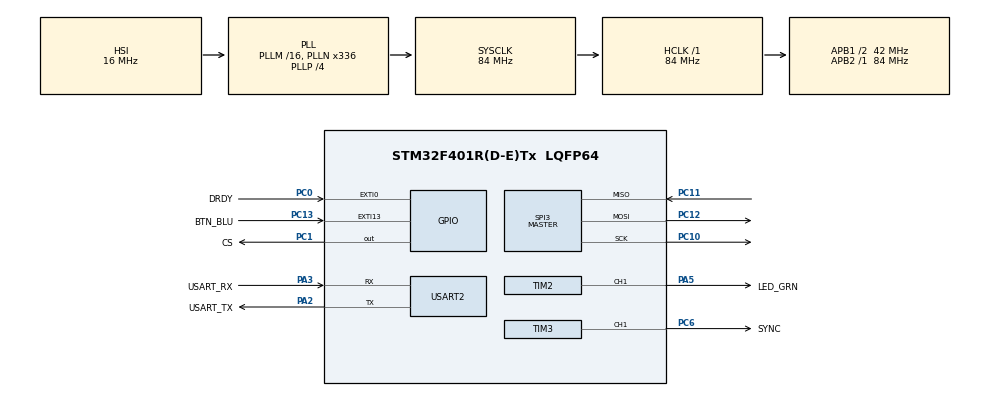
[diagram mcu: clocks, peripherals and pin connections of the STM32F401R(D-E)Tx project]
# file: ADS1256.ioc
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Dma.Request0=USART2_RX
Dma.Request1=USART2_TX
Dma.USART2_RX.0.Direction=DMA_PERIPH_TO_MEMORY
Dma.USART2_RX.0.FIFOMode=DMA_FIFOMODE_DISABLE
Dma.USART2_RX.0.Instance=DMA1_Stream5
Dma.USART2_RX.0.MemDataAlignment=DMA_MDATAALIGN_BYTE
Dma.USART2_RX.0.MemInc=DMA_MINC_ENABLE
Dma.USART2_RX.0.Mode=DMA_NORMAL
Dma.USART2_RX.0.PeriphDataAlignment=DMA_PDATAALIGN_BYTE
Dma.USART2_RX.0.PeriphInc=DMA_PINC_DISABLE
Dma.USART2_RX.0.Priority=DMA_PRIORITY_LOW
Dma.USART2_TX.1.Direction=DMA_MEMORY_TO_PERIPH
Dma.USART2_TX.1.FIFOMode=DMA_FIFOMODE_DISABLE
Dma.USART2_TX.1.Instance=DMA1_Stream6
Dma.USART2_TX.1.MemDataAlignment=DMA_MDATAALIGN_BYTE
Dma.USART2_TX.1.MemInc=DMA_MINC_ENABLE
Dma.USART2_TX.1.Mode=DMA_NORMAL
Dma.USART2_TX.1.PeriphDataAlignment=DMA_PDATAALIGN_BYTE
Dma.USART2_TX.1.PeriphInc=DMA_PINC_DISABLE
Dma.USART2_TX.1.Priority=DMA_PRIORITY_LOW
FREERTOS.BinarySemaphores01=UART_RX_Done_Sem,Dynamic,NULL,Available;DRDY_Signal_Sem,Dynamic,NULL,Depleted
FREERTOS.Queues01=txDataQueue,32,CommsFrame_t,0,Dynamic,NULL,NULL;CommandQueue,16,CommsFrame_t,0,Dynamic,NULL,NULL
FREERTOS.Tasks01=Command_Handler,32,128,StartCommand_Handler,Default,NULL,Dynamic,NULL,NULL;UART_TX_Task,24,128,StartUART_TX_Task,Default,NULL,Dynamic,NULL,NULL;UART_RX_Task,24,128,StartUART_RX_Task,Default,NULL,Dynamic,NULL,NULL;SPI_RX_Task,8,256,StartSPI_RX_Task,Default,NULL,Dynamic,NULL,NULL
FREERTOS.configUSE_NEWLIB_REENTRANT=1
Mcu.Family=STM32F4
Mcu.Name=STM32F401R(D-E)Tx
Mcu.Package=LQFP64
NVIC.DMA1_Stream5_IRQn=true\:5\:0\:false\:false\:true\:true\:false\:true\:true
NVIC.DMA1_Stream6_IRQn=true\:5\:0\:false\:false\:true\:true\:false\:true\:true
NVIC.EXTI0_IRQn=true\:5\:0\:false\:false\:true\:true\:true\:true\:true
NVIC.EXTI15_10_IRQn=true\:5\:0\:false\:false\:true\:true\:true\:true\:true
NVIC.PriorityGroup=NVIC_PRIORITYGROUP_4
NVIC.TIM1_UP_TIM10_IRQn=true\:15\:0\:false\:false\:true\:false\:false\:true\:true
NVIC.TimeBase=TIM1_UP_TIM10_IRQn
NVIC.TimeBaseIP=TIM10
NVIC.USART2_IRQn=true\:5\:0\:false\:false\:true\:true\:true\:true\:true
PA13.GPIO_Label=TMS
PA13.Mode=Trace_Asynchronous_SW
PA13.Signal=SYS_JTMS-SWDIO
PA14.GPIO_Label=TCK
PA14.Mode=Trace_Asynchronous_SW
PA14.Signal=SYS_JTCK-SWCLK
PA2.GPIO_Label=USART_TX
PA2.GPIO_Mode=GPIO_MODE_AF_PP
PA2.GPIO_PuPd=GPIO_NOPULL
PA2.GPIO_Speed=GPIO_SPEED_FREQ_LOW
PA2.Mode=Asynchronous
PA2.Signal=USART2_TX
PA3.GPIO_Label=USART_RX
PA3.GPIO_Mode=GPIO_MODE_AF_PP
PA3.GPIO_PuPd=GPIO_NOPULL
PA3.GPIO_Speed=GPIO_SPEED_FREQ_LOW
PA3.Mode=Asynchronous
PA3.Signal=USART2_RX
PA5.GPIO_Label=LED_GRN
PA5.Signal=S_TIM2_CH1_ETR
PB3.GPIO_Label=SWO
PB3.Mode=Trace_Asynchronous_SW
PB3.Signal=SYS_JTDO-SWO
PC0.GPIO_Label=DRDY
PC0.Signal=GPXTI0
PC1.GPIO_Label=CS
PC1.GPIO_Speed=GPIO_SPEED_FREQ_HIGH
PC1.PinState=GPIO_PIN_SET
PC1.Signal=GPIO_Output
PC10.Mode=Full_Duplex_Master
PC10.Signal=SPI3_SCK
PC11.Mode=Full_Duplex_Master
PC11.Signal=SPI3_MISO
PC12.Mode=Full_Duplex_Master
PC12.Signal=SPI3_MOSI
PC13-ANTI_TAMP.GPIO_Label=BTN_BLU
PC13-ANTI_TAMP.GPIO_ModeDefaultEXTI=GPIO_MODE_IT_FALLING
PC13-ANTI_TAMP.Signal=GPXTI13
PC14-OSC32_IN.Mode=LSE-External-Oscillator
PC14-OSC32_IN.Signal=RCC_OSC32_IN
PC15-OSC32_OUT.Mode=LSE-External-Oscillator
PC15-OSC32_OUT.Signal=RCC_OSC32_OUT
PC6.GPIO_Label=SYNC
PC6.Signal=S_TIM3_CH1
PH0\ -\ OSC_IN.Mode=HSE-External-Clock-Source
PH0\ -\ OSC_IN.Signal=RCC_OSC_IN
PH1\ -\ OSC_OUT.Mode=HSE-External-Clock-Source
PH1\ -\ OSC_OUT.Signal=RCC_OSC_OUT
ProjectManager.HeapSize=0x200
ProjectManager.StackSize=0x400
ProjectManager.TargetToolchain=STM32CubeIDE
RCC.48MHZClocksFreq_Value=48000000
RCC.AHBFreq_Value=84000000
RCC.APB1CLKDivider=RCC_HCLK_DIV2
RCC.APB1Freq_Value=42000000
RCC.APB1TimFreq_Value=84000000
RCC.APB2Freq_Value=84000000
RCC.APB2TimFreq_Value=84000000
RCC.CortexFreq_Value=84000000
RCC.HCLKFreq_Value=84000000
RCC.HSE_VALUE=8000000
RCC.HSI_VALUE=16000000
RCC.PLLN=336
RCC.PLLP=RCC_PLLP_DIV4
RCC.PLLQ=7
RCC.SYSCLKFreq_VALUE=84000000
RCC.SYSCLKSource=RCC_SYSCLKSOURCE_PLLCLK
RCC.VCOOutputFreq_Value=336000000
SH.S_TIM2_CH1_ETR.0=TIM2_CH1,PWM Generation1 CH1
SH.S_TIM3_CH1.0=TIM3_CH1,PWM Generation1 CH1
SPI3.BaudRatePrescaler=SPI_BAUDRATEPRESCALER_32
SPI3.CLKPhase=SPI_PHASE_2EDGE
SPI3.Direction=SPI_DIRECTION_2LINES
SPI3.Mode=SPI_MODE_MASTER
SPI3.VirtualType=VM_MASTER
TIM2.Channel-PWM\ Generation1\ CH1=TIM_CHANNEL_1
TIM2.OCMode_PWM-PWM\ Generation1\ CH1=TIM_OCMODE_PWM2
TIM2.Period=100
TIM2.Prescaler=83
TIM2.Pulse-PWM\ Generation1\ CH1=1
TIM3.Channel-PWM\ Generation1\ CH1=TIM_CHANNEL_1
TIM3.OCMode_PWM-PWM\ Generation1\ CH1=TIM_OCMODE_PWM2
TIM3.OCPolarity_1=TIM_OCPOLARITY_LOW
TIM3.Period=5
TIM3.Prescaler=84-1
TIM3.Pulse-PWM\ Generation1\ CH1=1
TIM9.Prescaler=83
USART2.VirtualMode=VM_ASYNC
VP_FREERTOS_VS_CMSIS_V2.Mode=CMSIS_V2
VP_SYS_VS_tim10.Mode=TIM10
VP_TIM2_VS_ClockSourceINT.Mode=Internal
VP_TIM2_VS_OPM.Mode=OPM_bit
VP_TIM3_VS_ClockSourceINT.Mode=Internal
VP_TIM3_VS_OPM.Mode=OPM_bit
VP_TIM9_VS_ClockSourceINT.Mode=Internal
board=NUCLEO-F401RE

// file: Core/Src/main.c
/* USER CODE BEGIN Header */
/**
  ******************************************************************************
  * @file           : main.c
  * @brief          : Main program body
  ******************************************************************************
  * @attention
  *
  * Copyright (c) 2025 STMicroelectronics.
  * All rights reserved.
  *
  * This software is licensed under terms that can be found in the LICENSE file
  * in the root directory of this software component.
  * If no LICENSE file comes with this software, it is provided AS-IS.
  *
  ******************************************************************************
  */
/* USER CODE END Header */
#include "main.h"
#include "cmsis_os.h"

/* USER CODE BEGIN PD */
#include <stdio.h>
#include <string.h>
#include <stdlib.h>
#include <stdbool.h>
/* USER CODE END PD */

SPI_HandleTypeDef hspi3;

TIM_HandleTypeDef htim2;
TIM_HandleTypeDef htim3;
TIM_HandleTypeDef htim9;

UART_HandleTypeDef huart2;
DMA_HandleTypeDef hdma_usart2_rx;
DMA_HandleTypeDef hdma_usart2_tx;

/* Definitions for Command_Handler */
osThreadId_t Command_HandlerHandle;
const osThreadAttr_t Command_Handler_attributes = {
  .name = "Command_Handler",
  .stack_size = 128 * 4,
  .priority = (osPriority_t) osPriorityAboveNormal,
};
/* Definitions for UART_TX_Task */
osThreadId_t UART_TX_TaskHandle;
const osThreadAttr_t UART_TX_Task_attributes = {
  .name = "UART_TX_Task",
  .stack_size = 128 * 4,
  .priority = (osPriority_t) osPriorityNormal,
};
/* Definitions for UART_RX_Task */
osThreadId_t UART_RX_TaskHandle;
const osThreadAttr_t UART_RX_Task_attributes = {
  .name = "UART_RX_Task",
  .stack_size = 128 * 4,
  .priority = (osPriority_t) osPriorityNormal,
};
/* Definitions for SPI_RX_Task */
osThreadId_t SPI_RX_TaskHandle;
const osThreadAttr_t SPI_RX_Task_attributes = {
  .name = "SPI_RX_Task",
  .stack_size = 256 * 4,
  .priority = (osPriority_t) osPriorityLow,
};
/* Definitions for txDataQueue */
osMessageQueueId_t txDataQueueHandle;
const osMessageQueueAttr_t txDataQueue_attributes = {
  .name = "txDataQueue"
};
/* Definitions for CommandQueue */
osMessageQueueId_t CommandQueueHandle;
const osMessageQueueAttr_t CommandQueue_attributes = {
  .name = "CommandQueue"
};
/* Definitions for UART_RX_Done_Sem */
osSemaphoreId_t UART_RX_Done_SemHandle;
const osSemaphoreAttr_t UART_RX_Done_Sem_attributes = {
  .name = "UART_RX_Done_Sem"
};
/* Definitions for DRDY_Signal_Sem */
osSemaphoreId_t DRDY_Signal_SemHandle;
const osSemaphoreAttr_t DRDY_Signal_Sem_attributes = {
  .name = "DRDY_Signal_Sem"
};

void SystemClock_Config(void);
static void MX_GPIO_Init(void);
static void MX_DMA_Init(void);
static void MX_USART2_UART_Init(void);
static void MX_SPI3_Init(void);
static void MX_TIM2_Init(void);
static void MX_TIM9_Init(void);
static void MX_TIM3_Init(void);
void StartCommand_Handler(void *argument);
void StartUART_TX_Task(void *argument);
void StartUART_RX_Task(void *argument);
void StartSPI_RX_Task(void *argument);

/* USER CODE BEGIN 0 */

#define MAX_PARAM_BYTES 8
#define UART_RX_BUFFER_SIZE 32

#define STARTBYTE 0xAA
#define ACK       0x06
#define NAK       0x15

#define WAKEUP    0xE0
#define SELFCAL   0xE1
#define SELFOCAL  0xE2
#define SELFGCAL  0xE3
#define SYSOCAL   0xE4
#define SYSGCAL   0xE5
#define TRIGGER   0xE6
#define STANDBY   0xE7
#define RESET     0xE8
#define ACALON    0xE9
#define ACALOFF   0xEA
#define BUFEN     0xEB
#define BUFDIS    0xEC
#define MUX       0xED
#define PGA       0xEE
#define DRATE     0xEF
#define OFCW      0xF0
#define OFCR      0xF1
#define FSCW      0xF2
#define FSCR      0xF3
#define AVERAGE   0xF4
#define READREGS  0xF5
#define READCAL   0xF6
#define DUMMY     0xF7

#define DRATE_30000SPS       0b11110000
#define DRATE_15000SPS       0b11100000
#define DRATE_7500SPS        0b11010000
#define DRATE_3750SPS        0b11000000
#define DRATE_2000SPS        0b10110000
#define DRATE_1000SPS        0b10100001
#define DRATE_500SPS         0b10010010
#define DRATE_100SPS         0b10000010
#define DRATE_60SPS          0b01110010
#define DRATE_50SPS          0b01100011
#define DRATE_30SPS          0b01010011
#define DRATE_25SPS          0b01000011
#define DRATE_15SPS          0b00110011
#define DRATE_10SPS          0b00100011
#define DRATE_5SPS           0b00010011
#define DRATE_2_5SPS         0b00000011

#define SUCCESS              0x00
#define INVALID_COMMAND      0x01
#define INVALID_PARAM_VALUE  0x02
#define INVALID_PARAM_COUNT  0x03
#define PARAM_NOT_SUPPORTED  0x04

#define ADS1256_REG_STATUS   0x00
#define ADS1256_REG_MUX      0x01
#define ADS1256_REG_ADCON    0x02
#define ADS1256_REG_DRATE    0x03
#define ADS1256_REG_IO       0x04
#define ADS1256_REG_OFC0     0x05
#define ADS1256_REG_OFC1     0x06
#define ADS1256_REG_OFC2     0x07
#define ADS1256_REG_FSC0     0x08
#define ADS1256_REG_FSC1     0x09
#define ADS1256_REG_FSC2     0x0A

#define ADS1256_COM_WAKEUP   0x00
#define ADS1256_COM_RDATA    0x01
#define ADS1256_COM_RDATAC   0x03
#define ADS1256_COM_SDATAC   0x0F
#define ADS1256_COM_RREG     0x10
#define ADS1256_COM_WREG     0x50
#define ADS1256_COM_SELFCAL  0xF0
#define ADS1256_COM_SELFOCAL 0xF1
#define ADS1256_COM_SELFGCAL 0xF2
#define ADS1256_COM_SYSOCAL  0xF3
#define ADS1256_COM_SYSGCAL  0xF4
#define ADS1256_COM_SYNC     0xFC
#define ADS1256_COM_STANDBY  0xFD
#define ADS1256_COM_RESET    0xFE
#define ADS1256_COM_SNCWKP   0xFF

uint8_t UART_RX_buf[UART_RX_BUFFER_SIZE];
uint8_t UART_RX_bytes_received = 0;

volatile uint8_t read_data_on_drdy = false;			// enable (true) or disable (false) the call of StartSPI_RX_Task on DRDY; checked in HAL_GPIO_EXTI_Callback
volatile int32_t adccode;							// ultima conversione ADC, aggiornato nella nella ADS1256ReadData. Il dato intero va scalato per avere il valore in volt.
volatile int32_t adccodesum = 0;					// accumulatore delle conversioni ADC, usata per calcolare il valor medio
volatile uint8_t nmeas = 0;							// numero di conversioni accumulate in adccodesum
volatile uint8_t naverage = 5;                      // numero di conversioni per il calcolo della media
volatile double dvoltage = 0.;						// tensione media misurata, tiene conto di pga
volatile uint8_t pga = 0;

const double vres_lut[] = {5.960465188081883e-7, 2.980232594040941e-7, 1.490116297020471e-7, 7.450581485102354e-8, 3.725290742551177e-8, 1.862645371275588e-8, 9.313226856377942e-9};

typedef struct {
    uint8_t command_id;               // 1 byte: Il comando
    uint8_t statuscode;				  // 1 byte: 0x00 se SUCCESS, altrimenti un codice di errore
    uint8_t nbytes;					  // 1 byte: Numero di bytes del payload
    uint8_t payload[MAX_PARAM_BYTES]; // Buffer per MAX_PARAM_BYTES parametri
} CommsFrame_t;

int _write(int file, char *ptr, int len)
{
	// implementazione _write per serial wire debug usata da printf e puts
	// usa la periferica ITM progettata per serial wire debugging che utilizza il pin SWO
	int i=0;
	for(i=0 ; i<len ; i++)
		ITM_SendChar((*ptr++));
	return len;
}

void HAL_GPIO_EXTI_Callback(uint16_t GPIO_Pin)
{
	switch (GPIO_Pin)
	{
	case BTN_BLU_Pin:

		printf("BTN_BLU_Pin IRQ\n");
		htim2.Instance->CR1 |= TIM_CR1_CEN;				// triggering di one-shot timer per blink del LED onboard
		break;

	case DRDY_Pin:										// con questo IRQ l'ADS1256 ci informa la conversione è completa

		htim2.Instance->CR1 |= TIM_CR1_CEN;				// triggering di one-shot timer per blink del LED onboard

		if (read_data_on_drdy)
			osSemaphoreRelease(DRDY_Signal_SemHandle);	// se read_data_on_drdy = true allora sblocco il task per la lettura del dato sulla SPI

		break;
	}
}

void HAL_UARTEx_RxEventCallback(UART_HandleTypeDef *huart, uint16_t Size)	// chiamata quando la UART va in idle, quando il buffer è pieno o quando il buffer è mezzo pieno
{
	if (HAL_UARTEx_GetRxEventType(huart) != HAL_UART_RXEVENT_HT)			// filtro IRQ: ignoro le chiamate per buffer mezzo pieno.
	{
		UART_RX_bytes_received = Size;										// terminata la ricezione aggiorno la variabile globale con il n. di caratteri ricevuti;
		osSemaphoreRelease(UART_RX_Done_SemHandle);							// comunico al task di ricezione che è stato ricevuto un nuovo buffer
	}
}

void ShowFrame(CommsFrame_t* pframe)
{
	printf("command_id: 0x%X\n", pframe->command_id);

	for (uint8_t i=0; i<MAX_PARAM_BYTES; i++)
	{
		printf("B[%d]:      0x%X\n", i, pframe->payload[i]);
	}
}

void SendResponse(uint8_t command_id, uint8_t statuscode, uint8_t nbytes, uint8_t* payload)
{
	CommsFrame_t frame_out;

	frame_out.command_id = command_id;
	frame_out.statuscode = statuscode;
	frame_out.nbytes = nbytes;

	if (nbytes > 0)
	{
		memcpy(&frame_out.payload, payload, nbytes);
	}

	osMessageQueuePut(txDataQueueHandle, &frame_out, 0, 0);
}

void delay_busywait(uint32_t count) {								// impostare TIM9 con un prescaler di 84-1 per avere un clock da 1 us/count

    __HAL_TIM_SET_COUNTER(&htim9, 0);								// Reimposta il contatore del timer
    __HAL_TIM_ENABLE(&htim9);										// Avvia il timer

    while (__HAL_TIM_GET_COUNTER(&htim9) < count);					// Attendi in un ciclo finché il contatore non raggiunge il valore desiderato

    __HAL_TIM_DISABLE(&htim9);										// Ferma il timer
}

uint8_t ADS1256_ReadRegister(uint8_t registerID)
{
	  uint8_t tx_data[2];
	  uint8_t rx_data[1];

	  HAL_GPIO_WritePin(CS_GPIO_Port, CS_Pin, GPIO_PIN_RESET);						// abbasso CS

	  tx_data[0] = ADS1256_COM_RREG | registerID;									// comando RREG e offset registro
	  tx_data[1] = 0x00;															// numero di bytes da leggere - 1 (impostare a zero per leggere 1 byte)

	  HAL_SPI_Transmit(&hspi3, tx_data, 2, HAL_MAX_DELAY);							// invio due bytes

	  delay_busywait(10ul);															// attendo 10 us (vedi configurazione di TIM9

	  HAL_SPI_Receive(&hspi3, rx_data, 1, HAL_MAX_DELAY);							// ricevo un byte via SPI

	  HAL_GPIO_WritePin(CS_GPIO_Port, CS_Pin, GPIO_PIN_SET);						// alzo CS

	  delay_busywait(5ul);

	  return rx_data[0];

}

void ADS1256_WriteRegister(uint8_t registerID, uint8_t value)
{
	  uint8_t tx_data[3];

	  HAL_GPIO_WritePin(CS_GPIO_Port, CS_Pin, GPIO_PIN_RESET);						// abbasso CS

	  tx_data[0] = ADS1256_COM_WREG | registerID;									// comando WREG e offset registro
	  tx_data[1] = 0x00;															// numero di bytes da scrivere - 1 (impostare a zero per scrivere 1 byte)
	  tx_data[2] = value;

	  HAL_SPI_Transmit(&hspi3, tx_data, 3, HAL_MAX_DELAY);							// invio tre bytes

	  delay_busywait(10ul);															// attendo 10 us (vedi configurazione di TIM9)

	  HAL_GPIO_WritePin(CS_GPIO_Port, CS_Pin, GPIO_PIN_SET);						// alzo CS

	  delay_busywait(10ul);															// attendo 10 us (vedi configurazione di TIM9)
}

void ADS1256_SendCommand(uint8_t commandID)
{
	  HAL_GPIO_WritePin(CS_GPIO_Port, CS_Pin, GPIO_PIN_RESET);						// abbasso CS

	  HAL_SPI_Transmit(&hspi3, &commandID, 1, HAL_MAX_DELAY);						// invio un byte

	  delay_busywait(5ul);															// attendo 5 us (vedi configurazione di TIM9)

	  HAL_GPIO_WritePin(CS_GPIO_Port, CS_Pin, GPIO_PIN_SET);						// alzo CS

	  delay_busywait(5ul);															// attendo 5 us (vedi configurazione di TIM9)
}

void ADS1256_ReadData()
{
	HAL_GPIO_WritePin(CS_GPIO_Port, CS_Pin, GPIO_PIN_RESET);						// abbasso CS

	uint8_t rdatacommand = ADS1256_COM_RDATA;
	HAL_SPI_Transmit(&hspi3, &rdatacommand, 1, HAL_MAX_DELAY);						// trasmetto il comando RDATA

	delay_busywait(10);																// attendo 10 us (vedi configurazione di TIM9)

	uint8_t adcbyte[3];
	HAL_SPI_Receive(&hspi3, adcbyte, 3, HAL_MAX_DELAY);								// ricevo tre bytes via SPI

	adccode = (int32_t)((uint32_t)adcbyte[0] << 24) | ((uint32_t)adcbyte[1] << 16) | ((uint32_t)adcbyte[2] << 8);		// riordino e allineo a sinistra i bytes
	adccode = adccode >> 8;																								// sposto 8 bit a destra con estensione del segno

	HAL_GPIO_WritePin(CS_GPIO_Port, CS_Pin, GPIO_PIN_SET);							// alzo CS

	delay_busywait(5);
}

void ADS1256_Trigger()
{
	TIM3->CR1 |= TIM_CR1_CEN;
	read_data_on_drdy = true;
}

/* USER CODE END 0 */

int main(void)
{

  /* MCU Configuration--------------------------------------------------------*/

  /* Reset of all peripherals, Initializes the Flash interface and the Systick. */
  HAL_Init();

  /* Configure the system clock */
  SystemClock_Config();

  /* Initialize all configured peripherals */
  MX_GPIO_Init();
  MX_DMA_Init();
  MX_USART2_UART_Init();
  MX_SPI3_Init();
  MX_TIM2_Init();
  MX_TIM9_Init();
  MX_TIM3_Init();
  /* USER CODE BEGIN 2 */

  printf("\n\n\n\nRunning...\n");

  HAL_UARTEx_ReceiveToIdle_DMA(&huart2, UART_RX_buf, UART_RX_BUFFER_SIZE);		// La prima volta viene invocata qui e mette l'UART in attesa di un messaggio.
  	  	  	  	  	  	  	  	  	  	  	  	  	  	  	  	  	  	  	  	// Quando arriva il messaggio viene chiamata la callback HAL_UARTEx_RxEventCallback
  	  	  	  	  	  	  	  	  	  	  	  	  	  	  	  	  	  	  	  	// e la ricezione via UART non riprende finchè la funzione
  	  	  	  	  	  	  	  	  	  	  	  	  	  	  	  	  	  	  	  	// HAL_UARTEx_ReceiveToIdle_DMA non viene nuovamente invocata.
  printf("UART receive started.\n");

  /* USER CODE END 2 */

  /* Init scheduler */
  osKernelInitialize();

  /* Create the semaphores(s) */
  /* creation of UART_RX_Done_Sem */
  UART_RX_Done_SemHandle = osSemaphoreNew(1, 1, &UART_RX_Done_Sem_attributes);

  /* creation of DRDY_Signal_Sem */
  DRDY_Signal_SemHandle = osSemaphoreNew(1, 0, &DRDY_Signal_Sem_attributes);

  /* Create the queue(s) */
  /* creation of txDataQueue */
  txDataQueueHandle = osMessageQueueNew (32, sizeof(CommsFrame_t), &txDataQueue_attributes);

  /* creation of CommandQueue */
  CommandQueueHandle = osMessageQueueNew (16, sizeof(CommsFrame_t), &CommandQueue_attributes);

  /* Create the thread(s) */
  /* creation of Command_Handler */
  Command_HandlerHandle = osThreadNew(StartCommand_Handler, NULL, &Command_Handler_attributes);

  /* creation of UART_TX_Task */
  UART_TX_TaskHandle = osThreadNew(StartUART_TX_Task, NULL, &UART_TX_Task_attributes);

  /* creation of UART_RX_Task */
  UART_RX_TaskHandle = osThreadNew(StartUART_RX_Task, NULL, &UART_RX_Task_attributes);

  /* creation of SPI_RX_Task */
  SPI_RX_TaskHandle = osThreadNew(StartSPI_RX_Task, NULL, &SPI_RX_Task_attributes);

  /* Start scheduler */
  osKernelStart();

  /* We should never get here as control is now taken by the scheduler */

  /* Infinite loop */
  while (1)
  {

  }
}

void SystemClock_Config(void)
{
  RCC_OscInitTypeDef RCC_OscInitStruct = {0};
  RCC_ClkInitTypeDef RCC_ClkInitStruct = {0};

  /** Configure the main internal regulator output voltage
  */
  __HAL_RCC_PWR_CLK_ENABLE();
  __HAL_PWR_VOLTAGESCALING_CONFIG(PWR_REGULATOR_VOLTAGE_SCALE2);

  /** Initializes the RCC Oscillators according to the specified parameters
  * in the RCC_OscInitTypeDef structure.
  */
  RCC_OscInitStruct.OscillatorType = RCC_OSCILLATORTYPE_HSI;
  RCC_OscInitStruct.HSIState = RCC_HSI_ON;
  RCC_OscInitStruct.HSICalibrationValue = RCC_HSICALIBRATION_DEFAULT;
  RCC_OscInitStruct.PLL.PLLState = RCC_PLL_ON;
  RCC_OscInitStruct.PLL.PLLSource = RCC_PLLSOURCE_HSI;
  RCC_OscInitStruct.PLL.PLLM = 16;
  RCC_OscInitStruct.PLL.PLLN = 336;
  RCC_OscInitStruct.PLL.PLLP = RCC_PLLP_DIV4;
  RCC_OscInitStruct.PLL.PLLQ = 7;
  if (HAL_RCC_OscConfig(&RCC_OscInitStruct) != HAL_OK)
  {
    Error_Handler();
  }

  /** Initializes the CPU, AHB and APB buses clocks
  */
  RCC_ClkInitStruct.ClockType = RCC_CLOCKTYPE_HCLK|RCC_CLOCKTYPE_SYSCLK
                              |RCC_CLOCKTYPE_PCLK1|RCC_CLOCKTYPE_PCLK2;
  RCC_ClkInitStruct.SYSCLKSource = RCC_SYSCLKSOURCE_PLLCLK;
  RCC_ClkInitStruct.AHBCLKDivider = RCC_SYSCLK_DIV1;
  RCC_ClkInitStruct.APB1CLKDivider = RCC_HCLK_DIV2;
  RCC_ClkInitStruct.APB2CLKDivider = RCC_HCLK_DIV1;

  if (HAL_RCC_ClockConfig(&RCC_ClkInitStruct, FLASH_LATENCY_2) != HAL_OK)
  {
    Error_Handler();
  }
}

static void MX_SPI3_Init(void)
{

  /* SPI3 parameter configuration*/
  hspi3.Instance = SPI3;
  hspi3.Init.Mode = SPI_MODE_MASTER;
  hspi3.Init.Direction = SPI_DIRECTION_2LINES;
  hspi3.Init.DataSize = SPI_DATASIZE_8BIT;
  hspi3.Init.CLKPolarity = SPI_POLARITY_LOW;
  hspi3.Init.CLKPhase = SPI_PHASE_2EDGE;
  hspi3.Init.NSS = SPI_NSS_SOFT;
  hspi3.Init.BaudRatePrescaler = SPI_BAUDRATEPRESCALER_32;
  hspi3.Init.FirstBit = SPI_FIRSTBIT_MSB;
  hspi3.Init.TIMode = SPI_TIMODE_DISABLE;
  hspi3.Init.CRCCalculation = SPI_CRCCALCULATION_DISABLE;
  hspi3.Init.CRCPolynomial = 10;
  if (HAL_SPI_Init(&hspi3) != HAL_OK)
  {
    Error_Handler();
  }

}

static void MX_TIM2_Init(void)
{

  TIM_ClockConfigTypeDef sClockSourceConfig = {0};
  TIM_MasterConfigTypeDef sMasterConfig = {0};
  TIM_OC_InitTypeDef sConfigOC = {0};

  htim2.Instance = TIM2;
  htim2.Init.Prescaler = 83;
  htim2.Init.CounterMode = TIM_COUNTERMODE_UP;
  htim2.Init.Period = 100;
  htim2.Init.ClockDivision = TIM_CLOCKDIVISION_DIV1;
  htim2.Init.AutoReloadPreload = TIM_AUTORELOAD_PRELOAD_DISABLE;
  if (HAL_TIM_Base_Init(&htim2) != HAL_OK)
  {
    Error_Handler();
  }
  sClockSourceConfig.ClockSource = TIM_CLOCKSOURCE_INTERNAL;
  if (HAL_TIM_ConfigClockSource(&htim2, &sClockSourceConfig) != HAL_OK)
  {
    Error_Handler();
  }
  if (HAL_TIM_PWM_Init(&htim2) != HAL_OK)
  {
    Error_Handler();
  }
  if (HAL_TIM_OnePulse_Init(&htim2, TIM_OPMODE_SINGLE) != HAL_OK)
  {
    Error_Handler();
  }
  sMasterConfig.MasterOutputTrigger = TIM_TRGO_RESET;
  sMasterConfig.MasterSlaveMode = TIM_MASTERSLAVEMODE_DISABLE;
  if (HAL_TIMEx_MasterConfigSynchronization(&htim2, &sMasterConfig) != HAL_OK)
  {
    Error_Handler();
  }
  sConfigOC.OCMode = TIM_OCMODE_PWM2;
  sConfigOC.Pulse = 1;
  sConfigOC.OCPolarity = TIM_OCPOLARITY_HIGH;
  sConfigOC.OCFastMode = TIM_OCFAST_DISABLE;
  if (HAL_TIM_PWM_ConfigChannel(&htim2, &sConfigOC, TIM_CHANNEL_1) != HAL_OK)
  {
    Error_Handler();
  }
  /* USER CODE BEGIN TIM2_Init 2 */

  TIM_CCxChannelCmd(htim2.Instance, TIM_CHANNEL_1, TIM_CCx_ENABLE);		// IMPORTANTE: il canale di out va inserito a mano!!!!

  /* USER CODE END TIM2_Init 2 */
  HAL_TIM_MspPostInit(&htim2);

}

static void MX_TIM3_Init(void)
{

  TIM_ClockConfigTypeDef sClockSourceConfig = {0};
  TIM_MasterConfigTypeDef sMasterConfig = {0};
  TIM_OC_InitTypeDef sConfigOC = {0};

  htim3.Instance = TIM3;
  htim3.Init.Prescaler = 84-1;
  htim3.Init.CounterMode = TIM_COUNTERMODE_UP;
  htim3.Init.Period = 5;
  htim3.Init.ClockDivision = TIM_CLOCKDIVISION_DIV1;
  htim3.Init.AutoReloadPreload = TIM_AUTORELOAD_PRELOAD_DISABLE;
  if (HAL_TIM_Base_Init(&htim3) != HAL_OK)
  {
    Error_Handler();
  }
  sClockSourceConfig.ClockSource = TIM_CLOCKSOURCE_INTERNAL;
  if (HAL_TIM_ConfigClockSource(&htim3, &sClockSourceConfig) != HAL_OK)
  {
    Error_Handler();
  }
  if (HAL_TIM_PWM_Init(&htim3) != HAL_OK)
  {
    Error_Handler();
  }
  if (HAL_TIM_OnePulse_Init(&htim3, TIM_OPMODE_SINGLE) != HAL_OK)
  {
    Error_Handler();
  }
  sMasterConfig.MasterOutputTrigger = TIM_TRGO_RESET;
  sMasterConfig.MasterSlaveMode = TIM_MASTERSLAVEMODE_DISABLE;
  if (HAL_TIMEx_MasterConfigSynchronization(&htim3, &sMasterConfig) != HAL_OK)
  {
    Error_Handler();
  }
  sConfigOC.OCMode = TIM_OCMODE_PWM2;
  sConfigOC.Pulse = 1;
  sConfigOC.OCPolarity = TIM_OCPOLARITY_LOW;
  sConfigOC.OCFastMode = TIM_OCFAST_DISABLE;
  if (HAL_TIM_PWM_ConfigChannel(&htim3, &sConfigOC, TIM_CHANNEL_1) != HAL_OK)
  {
    Error_Handler();
  }
  /* USER CODE BEGIN TIM3_Init 2 */

  TIM_CCxChannelCmd(htim3.Instance, TIM_CHANNEL_1, TIM_CCx_ENABLE);		// IMPORTANTE: il canale di out va inserito a mano!!!!

  /* USER CODE END TIM3_Init 2 */
  HAL_TIM_MspPostInit(&htim3);

}

static void MX_TIM9_Init(void)
{

  TIM_ClockConfigTypeDef sClockSourceConfig = {0};

  htim9.Instance = TIM9;
  htim9.Init.Prescaler = 83;
  htim9.Init.CounterMode = TIM_COUNTERMODE_UP;
  htim9.Init.Period = 65535;
  htim9.Init.ClockDivision = TIM_CLOCKDIVISION_DIV1;
  htim9.Init.AutoReloadPreload = TIM_AUTORELOAD_PRELOAD_DISABLE;
  if (HAL_TIM_Base_Init(&htim9) != HAL_OK)
  {
    Error_Handler();
  }
  sClockSourceConfig.ClockSource = TIM_CLOCKSOURCE_INTERNAL;
  if (HAL_TIM_ConfigClockSource(&htim9, &sClockSourceConfig) != HAL_OK)
  {
    Error_Handler();
  }

}

static void MX_USART2_UART_Init(void)
{

  huart2.Instance = USART2;
  huart2.Init.BaudRate = 115200;
  huart2.Init.WordLength = UART_WORDLENGTH_8B;
  huart2.Init.StopBits = UART_STOPBITS_1;
  huart2.Init.Parity = UART_PARITY_NONE;
  huart2.Init.Mode = UART_MODE_TX_RX;
  huart2.Init.HwFlowCtl = UART_HWCONTROL_NONE;
  huart2.Init.OverSampling = UART_OVERSAMPLING_16;
  if (HAL_UART_Init(&huart2) != HAL_OK)
  {
    Error_Handler();
  }

}

static void MX_DMA_Init(void)
{

  /* DMA controller clock enable */
  __HAL_RCC_DMA1_CLK_ENABLE();

  /* DMA interrupt init */
  /* DMA1_Stream5_IRQn interrupt configuration */
  HAL_NVIC_SetPriority(DMA1_Stream5_IRQn, 5, 0);
  HAL_NVIC_EnableIRQ(DMA1_Stream5_IRQn);
  /* DMA1_Stream6_IRQn interrupt configuration */
  HAL_NVIC_SetPriority(DMA1_Stream6_IRQn, 5, 0);
  HAL_NVIC_EnableIRQ(DMA1_Stream6_IRQn);

}

static void MX_GPIO_Init(void)
{
  GPIO_InitTypeDef GPIO_InitStruct = {0};

  /* GPIO Ports Clock Enable */
  __HAL_RCC_GPIOC_CLK_ENABLE();
  __HAL_RCC_GPIOH_CLK_ENABLE();
  __HAL_RCC_GPIOA_CLK_ENABLE();
  __HAL_RCC_GPIOB_CLK_ENABLE();

  /*Configure GPIO pin Output Level */
  HAL_GPIO_WritePin(CS_GPIO_Port, CS_Pin, GPIO_PIN_SET);

  /*Configure GPIO pin : BTN_BLU_Pin */
  GPIO_InitStruct.Pin = BTN_BLU_Pin;
  GPIO_InitStruct.Mode = GPIO_MODE_IT_FALLING;
  GPIO_InitStruct.Pull = GPIO_NOPULL;
  HAL_GPIO_Init(BTN_BLU_GPIO_Port, &GPIO_InitStruct);

  /*Configure GPIO pin : DRDY_Pin */
  GPIO_InitStruct.Pin = DRDY_Pin;
  GPIO_InitStruct.Mode = GPIO_MODE_IT_RISING;
  GPIO_InitStruct.Pull = GPIO_NOPULL;
  HAL_GPIO_Init(DRDY_GPIO_Port, &GPIO_InitStruct);

  /*Configure GPIO pin : CS_Pin */
  GPIO_InitStruct.Pin = CS_Pin;
  GPIO_InitStruct.Mode = GPIO_MODE_OUTPUT_PP;
  GPIO_InitStruct.Pull = GPIO_NOPULL;
  GPIO_InitStruct.Speed = GPIO_SPEED_FREQ_HIGH;
  HAL_GPIO_Init(CS_GPIO_Port, &GPIO_InitStruct);

  /* EXTI interrupt init*/
  HAL_NVIC_SetPriority(EXTI0_IRQn, 5, 0);
  HAL_NVIC_EnableIRQ(EXTI0_IRQn);

  HAL_NVIC_SetPriority(EXTI15_10_IRQn, 5, 0);
  HAL_NVIC_EnableIRQ(EXTI15_10_IRQn);

}

void StartCommand_Handler(void *argument)
{
  /* USER CODE BEGIN 5 */
  /* Infinite loop */

	CommsFrame_t frame_in;
	uint8_t reg;
	uint8_t payload[MAX_PARAM_BYTES];

	for(;;)
	{
		osStatus_t status = osMessageQueueGet(CommandQueueHandle, &frame_in, NULL, osWaitForever);

		if (status == osOK)
		{
			switch (frame_in.command_id)
			{
			case WAKEUP:
				printf("Comando WAKEUP\n");

				ADS1256_SendCommand(ADS1256_COM_WAKEUP);

				SendResponse(frame_in.command_id, SUCCESS, 0, NULL);
				break;
			case SELFCAL:
				printf("Comando SELFCAL\n");

				ADS1256_SendCommand(ADS1256_COM_SELFCAL);

				SendResponse(frame_in.command_id, SUCCESS, 0, NULL);
				break;
			case SELFOCAL:
				printf("Comando SELFOCAL\n");

				ADS1256_SendCommand(ADS1256_COM_SELFOCAL);

				SendResponse(frame_in.command_id, SUCCESS, 0, NULL);
				break;
			case SELFGCAL:
				printf("Comando SELFGCAL\n");

				ADS1256_SendCommand(ADS1256_COM_SELFGCAL);

				SendResponse(frame_in.command_id, SUCCESS, 0, NULL);
				break;
			case SYSOCAL:
				printf("Comando SYSOCAL\n");

				ADS1256_SendCommand(ADS1256_COM_SYSOCAL);

				SendResponse(frame_in.command_id, SUCCESS, 0, NULL);
				break;
			case SYSGCAL:
				printf("Comando SYSGCAL\n");

				ADS1256_SendCommand(ADS1256_COM_SYSGCAL);

				SendResponse(frame_in.command_id, SUCCESS, 0, NULL);
				break;
			case TRIGGER:
				printf("Comando TRIGGER\n");

				ADS1256_Trigger();

				SendResponse(frame_in.command_id, SUCCESS, 0, NULL);
				break;
			case STANDBY:
				printf("Comando STANDBY\n");

				ADS1256_SendCommand(ADS1256_COM_STANDBY);

				SendResponse(frame_in.command_id, SUCCESS, 0, NULL);
				break;
			case RESET:
				printf("Comando RESET\n");

				ADS1256_SendCommand(ADS1256_COM_RESET);

				SendResponse(frame_in.command_id, SUCCESS, 0, NULL);
				break;
			case ACALON:
				printf("Comando ACALON\n");

				reg = ADS1256_ReadRegister(ADS1256_REG_STATUS) | 0b00000100;
				ADS1256_WriteRegister(ADS1256_REG_STATUS, reg);

				SendResponse(frame_in.command_id, SUCCESS, 0, NULL);
				break;
			case ACALOFF:
				printf("Comando ACALOFF\n");

				reg = ADS1256_ReadRegister(ADS1256_REG_STATUS) & 0b11111011;
				ADS1256_WriteRegister(ADS1256_REG_STATUS, reg);

				SendResponse(frame_in.command_id, SUCCESS, 0, NULL);
				break;
			case BUFEN:
				printf("Comando BUFEN\n");

				reg = ADS1256_ReadRegister(ADS1256_REG_STATUS) | 0b00000010;
				ADS1256_WriteRegister(ADS1256_REG_STATUS, reg);

				SendResponse(frame_in.command_id, SUCCESS, 0, NULL);
				break;
			case BUFDIS:
				printf("Comando BUFDIS\n");

				reg = ADS1256_ReadRegister(ADS1256_REG_STATUS) & 0b11111101;
				ADS1256_WriteRegister(ADS1256_REG_STATUS, reg);

				SendResponse(frame_in.command_id, SUCCESS, 0, NULL);
				break;
			case MUX:
				printf("Comando MUX\n");

				reg = frame_in.payload[0];
				ADS1256_WriteRegister(ADS1256_REG_MUX, reg);

				SendResponse(frame_in.command_id, SUCCESS, 0, NULL);
				break;
			case PGA:
				printf("Comando PGA\n");

				uint8_t pga_in = frame_in.payload[0];

				// Validate parameter
				// pga value   gain
				//     0         1
				//     1         2
				//     2         4
				//     3         8
				//     4        16
				//     5        32
				//     6        64
				//     7        64

				if (pga_in > 7)
				{
					SendResponse(frame_in.command_id, INVALID_PARAM_VALUE, 0, NULL);
				}
				else
				{
					pga = pga_in;
					reg = (ADS1256_ReadRegister(ADS1256_REG_ADCON) & 0b11111000) | pga;
					ADS1256_WriteRegister(ADS1256_REG_ADCON, reg);

					SendResponse(frame_in.command_id, SUCCESS, 0, NULL);
				}

				break;
			case DRATE:
				printf("Comando DRATE\n");

				uint8_t drate = frame_in.payload[0];

				// Validate parameter
				switch(drate)
				{
				case DRATE_30000SPS:
				case DRATE_15000SPS:
				case DRATE_7500SPS:
				case DRATE_3750SPS:
				case DRATE_2000SPS:
				case DRATE_1000SPS:
				case DRATE_500SPS:
				case DRATE_100SPS:
				case DRATE_60SPS:
				case DRATE_50SPS:
				case DRATE_30SPS:
				case DRATE_25SPS:
				case DRATE_15SPS:
				case DRATE_10SPS:
				case DRATE_5SPS:
				case DRATE_2_5SPS:

					ADS1256_WriteRegister(ADS1256_REG_DRATE, drate);

					SendResponse(frame_in.command_id, SUCCESS, 0, NULL);
					break;
				default:
					SendResponse(frame_in.command_id, INVALID_PARAM_VALUE, 0, NULL);
				}

				break;
			case OFCW:
				printf("Comando OFCW\n");

				uint8_t ofc1 = frame_in.payload[0];
				uint8_t ofc2 = frame_in.payload[1];
				uint8_t ofc3 = frame_in.payload[2];

				printf("Parametri: 0x%X 0x%X 0x%X\n", ofc1, ofc2, ofc3);

				// TODO: Process command
				// ...

				SendResponse(frame_in.command_id, SUCCESS, 0, NULL);
				break;
			case OFCR:
				printf("Comando OFCR\n");

				// OFC0, OFC1, OFC2
				payload[0] = ADS1256_ReadRegister(ADS1256_REG_OFC0);
				payload[1] = ADS1256_ReadRegister(ADS1256_REG_OFC1);
				payload[2] = ADS1256_ReadRegister(ADS1256_REG_OFC2);

				SendResponse(frame_in.command_id, SUCCESS, 3, payload);

				break;
			case FSCW:
				printf("Comando FSCW\n");

				uint8_t fsc1 = frame_in.payload[0];
				uint8_t fsc2 = frame_in.payload[1];
				uint8_t fsc3 = frame_in.payload[2];

				printf("Parametri: 0x%X 0x%X 0x%X\n", fsc1, fsc2, fsc3);

				// TODO: Process command
				// ...

				SendResponse(frame_in.command_id, SUCCESS, 0, NULL);
				break;
			case FSCR:
				printf("Comando FSCR\n");

				// FSC0, FSC1, FSC2
				payload[0] = ADS1256_ReadRegister(ADS1256_REG_FSC0);
				payload[1] = ADS1256_ReadRegister(ADS1256_REG_FSC1);
				payload[2] = ADS1256_ReadRegister(ADS1256_REG_FSC2);

				SendResponse(frame_in.command_id, SUCCESS, 3, payload);

				break;
			case AVERAGE:
				printf("Comando AVERAGE\n");

				uint8_t navg = frame_in.payload[0];
				printf("Parametro: 0x%X\n", navg);

				naverage = frame_in.payload[0];

				SendResponse(frame_in.command_id, SUCCESS, 0, NULL);
				break;
			case READREGS:
				printf("Comando READREGS\n");

				// STATUS, MUX, ADCON, DRATE, IO, AVERAGE
				payload[0] = ADS1256_ReadRegister(ADS1256_REG_STATUS);
				payload[1] = ADS1256_ReadRegister(ADS1256_REG_MUX);
				payload[2] = ADS1256_ReadRegister(ADS1256_REG_ADCON);
				payload[3] = ADS1256_ReadRegister(ADS1256_REG_DRATE);
				payload[4] = ADS1256_ReadRegister(ADS1256_REG_IO);
				payload[5] = naverage;

				SendResponse(frame_in.command_id, SUCCESS, 6, payload);

				break;
			case READCAL:
				printf("Comando READCAL\n");

				// OFC0, OFC1, OFC2, FSC0, FSC1, FSC2
				payload[0] = ADS1256_ReadRegister(ADS1256_REG_OFC0);
				payload[1] = ADS1256_ReadRegister(ADS1256_REG_OFC1);
				payload[2] = ADS1256_ReadRegister(ADS1256_REG_OFC2);
				payload[3] = ADS1256_ReadRegister(ADS1256_REG_FSC0);
				payload[4] = ADS1256_ReadRegister(ADS1256_REG_FSC1);
				payload[5] = ADS1256_ReadRegister(ADS1256_REG_FSC2);

				SendResponse(frame_in.command_id, SUCCESS, 6, payload);

				break;
			case DUMMY:
				printf("Comando DUMMY\n");

				read_data_on_drdy = !read_data_on_drdy;

				break;

			default:
				SendResponse(frame_in.command_id, INVALID_COMMAND, 0, NULL);
				printf("StartCommand_Handler ERROR: messaggio sconosciuto.\n");
			}
		}
		else
		{
			printf("StartCommand_Handler ERROR: osMessageQueueGet(CommandQueue) fail.\n");
		}

	}
  /* USER CODE END 5 */
}

void StartUART_TX_Task(void *argument)
{
  /* USER CODE BEGIN StartUART_TX_Task */

	CommsFrame_t frame;							// command_id, statuscode, nbytes, [payload]
	uint8_t buf[sizeof(CommsFrame_t) + 4];		// STARTBYTE STATUSCODE COMMAND [B1, B2, ...] CHECKSUM

  /* Infinite loop */
	for(;;)
	{
		osStatus_t status = osMessageQueueGet(txDataQueueHandle, &frame, NULL, osWaitForever);

		if (status == osOK)
		{
			uint8_t bytes_to_transmit;

			if ((frame.command_id == ACK) || (frame.command_id == NAK))			// ACK o NAK: il buffer è formato da un solo byte
			{
				buf[0] = frame.command_id;
				bytes_to_transmit = 1;
			}
			else																// messaggio completo: preparo il buffer
			{
				buf[0] = STARTBYTE;
				buf[1] = frame.statuscode;
				buf[2] = frame.command_id;
				buf[3] = frame.nbytes;

				memcpy(&buf[4], &frame.payload,frame.nbytes);

				uint8_t checksum = 0;

				for(uint8_t i = 0; i < (4+frame.nbytes); i++)
				{
					checksum += buf[i];
				}

				buf[4+frame.nbytes] = checksum;
																				// |--------------- 4 bytes ---------------|  |---- nbytes -----|  |1 byte|
				bytes_to_transmit = 4 + frame.nbytes + 1;						// startbyte, statuscode, command_id, nbytes, [byte1, byte2, ...], checksum
																				// [0]        [1]         [2]         [3]     [4]                  [4+nbytes]
			}

			HAL_UART_Transmit(&huart2, buf, bytes_to_transmit, 100);			// invio il buffer all'UART
		}
		else
		{
			printf("StartUART_TX_Task ERROR: osMessageQueueGet(txDataQueue) fail.\n");
		}

	}
  /* USER CODE END StartUART_TX_Task */
}

void StartUART_RX_Task(void *argument)
{
  /* USER CODE BEGIN StartUART_RX_Task */
  /* Infinite loop */

  uint8_t checksum;
  CommsFrame_t frame;

  for(;;)
  {
	  osSemaphoreAcquire(UART_RX_Done_SemHandle, osWaitForever);					// il task si blocca in attesa di un messaggio nella coda dei comandi

	  // struttura di UART_RX_buf: STARTBYTE COMMAND_ID B1    B2   ...   CHECKSUM
	  //                           [0]       [1]        [2]   [3]  ...   [UART_RX_bytes_received-1]

	  if (UART_RX_bytes_received > 0)
	  {
		  if (UART_RX_buf[0] != STARTBYTE)
		  {
			  // metto NAK in coda txDataQueue
			  frame.command_id = NAK;
			  osMessageQueuePut(txDataQueueHandle, &frame, 0, 0);
		  }
		  else
		  {
			  // calcolo la checksum
			  checksum = 0;

			  for (int i=0; i<(UART_RX_bytes_received-1); i++)
				  checksum += UART_RX_buf[i];

			  if (checksum != UART_RX_buf[UART_RX_bytes_received-1])
			  {
				  // metto NAK in coda txDataQueue
				  frame.command_id = NAK;
				  osMessageQueuePut(txDataQueueHandle, &frame, 0, 0);
			  }
			  else
			  {
				  // il comando è OK
				  // metto ACK in coda txDataQueue
				  frame.command_id = ACK;
				  osMessageQueuePut(txDataQueueHandle, &frame, 0, 0);

				  // metto il comando in coda CommandQueue
				  frame.command_id = UART_RX_buf[1];										// copio il command_id
				  frame.nbytes = UART_RX_buf[2];											// copio il numbytes
				  memcpy(&frame.payload, &UART_RX_buf[2], UART_RX_bytes_received-3);		// copio solo il payload

				  osMessageQueuePut(CommandQueueHandle, &frame, 0, 0);
			  }
		  }
	  }

	  HAL_UARTEx_ReceiveToIdle_DMA(&huart2, UART_RX_buf, UART_RX_BUFFER_SIZE);		// invoco nuovamente HAL_UARTEx_ReceiveToIdle_DMA per ricevere il prossimo messaggio
  }
  /* USER CODE END StartUART_RX_Task */
}

void StartSPI_RX_Task(void *argument)
{
  /* USER CODE BEGIN StartSPI_RX_Task */
  /* Infinite loop */

	CommsFrame_t frame;

	for(;;)
	{
		osSemaphoreAcquire(DRDY_Signal_SemHandle, osWaitForever);		// Attendi indefinitamente che il semaforo venga rilasciato (cioè quando DRDY transisce low)

		ADS1256_ReadData();

		if (nmeas < naverage)
		{
			nmeas++;
			adccodesum += adccode;
		}
		else
		{
			read_data_on_drdy = false;

			dvoltage = (double)adccodesum/(double)nmeas * vres_lut[pga];

			frame.command_id = TRIGGER;
			frame.statuscode = SUCCESS;
			frame.nbytes = sizeof(double);

			memcpy(frame.payload, (const void *)&dvoltage, sizeof(double));

			osMessageQueuePut(txDataQueueHandle, &frame, 0, 0);

			nmeas = 0;
			adccodesum = 0;
		}
	}
  /* USER CODE END StartSPI_RX_Task */
}

void HAL_TIM_PeriodElapsedCallback(TIM_HandleTypeDef *htim)
{
  if (htim->Instance == TIM10)
  {
    HAL_IncTick();
  }
}

void Error_Handler(void)
{
  __disable_irq();
  while (1)
  {
  }
}
